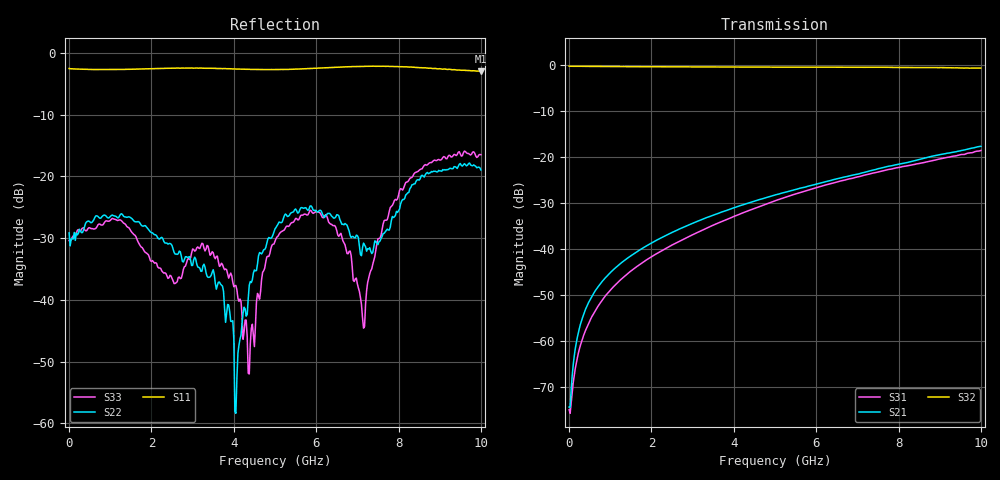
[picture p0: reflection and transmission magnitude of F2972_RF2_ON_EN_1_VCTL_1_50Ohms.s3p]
! Integrated Device Technology
! Corporate Headquarters
! 6024 Silver Creek Valley Road
! San Jose, CA 95138  USA
! Phone:  1-408-284-8200
! Toll Free:  1-800-223-1366
! Webpage:  http://www.idt.com/
! Timing and RF Division
! 515 Groton Road, Suite 102
! Westford, MA 01886-6024
! Device:  F2972
! Description: High Linearity Broadband SP2T
! Frequency:  0.005 - 10.000 GHz
! Package:  2x2 mm LQFN Plastic Package: 12 pin
! Ports:  3 RF, 3 DC
!  Pin  1  = GND
!  Pin  2  = RFC  = Port 3
!  Pin  3  = GND
!  Pin  4  = GND
!  Pin  5  = RF1  = Port 1
!  Pin  6  = GND
!  Pin  7  = VCTL
!  Pin  8  = EN
!  Pin  9  = VCC
!  Pin 10  = GND
!  Pin 11  = RF2  = Port 2
!  Pin 12  = GND
!  EP  = GND
! State:  RF2 Path Selected
! Voltage:  VCC  = +3.3 V
!  EN  = +3.3 V (Logic HIGH)
!  VCTL  = +3.3 V (Logic HIGH)
! Data:  The device was measured on the F2972 50 ohm EVKit
!  using a calibrated network analyzer.
!  The Thru reference parh (J4 to J5) was removed from
!  the data to produce the de-embedded results.
!  The reference plane is the edge of the RF pins.
! Misc:
! Date Measured:  2017-01-28
! Date:  2017-05-10 SJ
! Note:
!  Integrated Device Technology supplies this data as a sample
!	of measured data.
!  Data was taken at 25 degrees C.
!  Integrated Device Technology reserves the right to change
! 	this data at anytime.
! 3 Port Network Data
! freq  dbS11  angS11  dbS12  angS12  dbS13  angS13
!  dbS21  angS21  dbS22  angS22  dbS23  angS23
!  dbS31  angS31  dbS32  angS32  dbS33  angS33
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# HZ S DB R 50
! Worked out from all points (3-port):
!   401 points, 1 MHz to 10 GHz, reference 50 ohm
!   strongest paths, dB at 1 MHz, 2.501 GHz, 5 GHz, 7.5 GHz, 10 GHz:
!     S32: -0.2, -0.4, -0.5, -0.5, -0.7
!     S21: -74.3, -36.4, -28.2, -22.5, -17.6
!     S31: -74.9, -39.1, -29.5, -23.2, -18.6
!   lowest |S11| = -3.0 dB at 10 GHz (marker M1), VSWR 5.91, Z = 24.9 + j66.6 ohm
!   |S11| at or under -10 dB: nowhere
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1000000  -2.54 179.3  -75.32 -9.2  -79.95 14.3
         -74.31 42.7  -29.16 15.6  -0.25 -0.4
         -74.89 -15.6  -0.24 -0.4  -30.40 17.6
8.259175e8  -2.71 168.3  -46.78 88.0  -50.85 96.2
            -46.78 87.8  -26.36 13.8  -0.31 -8.1
            -50.82 96.3  -0.31 -8.1  -27.83 14.1
3.50065e9  -2.51 141.2  -32.61 85.4  -34.79 103.3
           -32.59 85.7  -35.13 -110.8  -0.41 -33.0
           -34.80 103.5  -0.43 -33.0  -32.38 -127.4
4.075592e9  -2.63 133.2  -30.80 82.9  -32.64 101.7
            -30.79 83.1  -52.66 -120.3  -0.42 -38.4
            -32.64 101.8  -0.43 -38.4  -38.40 -142.5
4.375562e9  -2.67 128.8  -29.90 81.6  -31.57 100.4
            -29.90 81.7  -37.64 27.7  -0.43 -41.3
            -31.57 100.5  -0.43 -41.2  -52.01 -116.4
5.0005e9  -2.70 118.7  -28.23 78.2  -29.47 97.1
          -28.23 78.0  -28.52 35.9  -0.44 -47.3
          -29.50 97.1  -0.46 -47.2  -30.54 11.6
6.250375e9  -2.41 102.2  -25.28 70.7  -26.03 87.9
            -25.29 70.6  -26.26 44.3  -0.46 -59.4
            -26.00 88.1  -0.44 -59.2  -26.34 11.8
7.150285e9  -2.17 95.5  -23.38 64.9  -23.98 80.4
            -23.37 65.0  -30.83 92.5  -0.48 -68.4
            -23.97 80.8  -0.49 -68.2  -44.59 121.6
8.075192e9  -2.24 90.1  -21.41 57.7  -22.11 72.5
            -21.43 58.0  -24.02 174.7  -0.51 -77.8
            -22.11 73.1  -0.52 -77.5  -22.07 171.4
1e10  -2.97 69.0  -17.61 38.3  -18.50 55.3
      -17.64 38.0  -18.96 -174.5  -0.68 -97.9
      -18.55 55.2  -0.67 -97.8  -16.49 167.9
